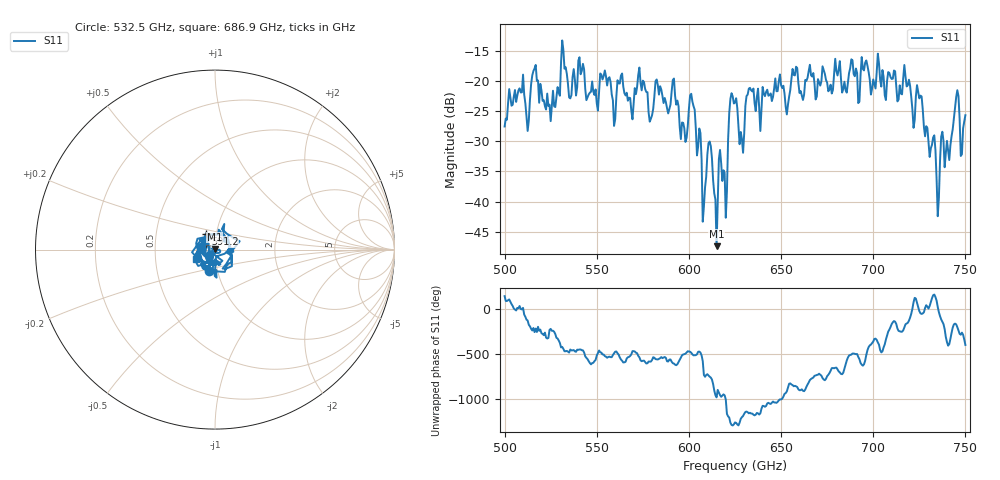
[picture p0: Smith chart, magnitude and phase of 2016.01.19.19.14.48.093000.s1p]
!Created with skrf (http://scikit-rf.org).
# GHz S RI R 50.0
!freq ReS11 ImS11
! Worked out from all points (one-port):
!   401 points, 500 GHz to 750 GHz, reference 50 ohm
!   lowest |S11| = -47.4 dB at 615 GHz (marker M1), VSWR 1.01, Z = 49.9 + j0.419 ohm
!   |S11| at or under -10 dB: start of sweep to end of sweep
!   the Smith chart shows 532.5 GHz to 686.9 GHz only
!   S11 on the Smith chart (normalised r, x): 532.5 GHz: 0.91, -0.22; 591.2 GHz: 0.89, +0.16; 686.9 GHz: 0.81, -0.08
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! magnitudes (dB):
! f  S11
! 500 GHz  -27.6
! 508.8 GHz  -21.9
! 512.5 GHz  -28.3
! 516.2 GHz  -18.0
! 526.2 GHz  -21.6
! 531.2 GHz  -13.3
! 532.5 GHz  -18.0
! 559.4 GHz  -27.5
! 562.5 GHz  -20.5
! 579.4 GHz  -26.3
! 591.2 GHz  -19.9
! 593.8 GHz  -23.3
! 601.9 GHz  -23.4
! 608.1 GHz  -40.8
! 611.2 GHz  -30.1
! 615 GHz  -47.4
! 619.4 GHz  -35.2
! 622.5 GHz  -23.0
! 625 GHz  -23.6
! 628.8 GHz  -29.6
! 632.5 GHz  -21.3
! 656.2 GHz  -18.0
! 686.9 GHz  -18.7
! 687.5 GHz  -17.9
! 718.8 GHz  -20.7
! 735 GHz  -42.4
! 745 GHz  -22.7
! 750 GHz  -25.7
